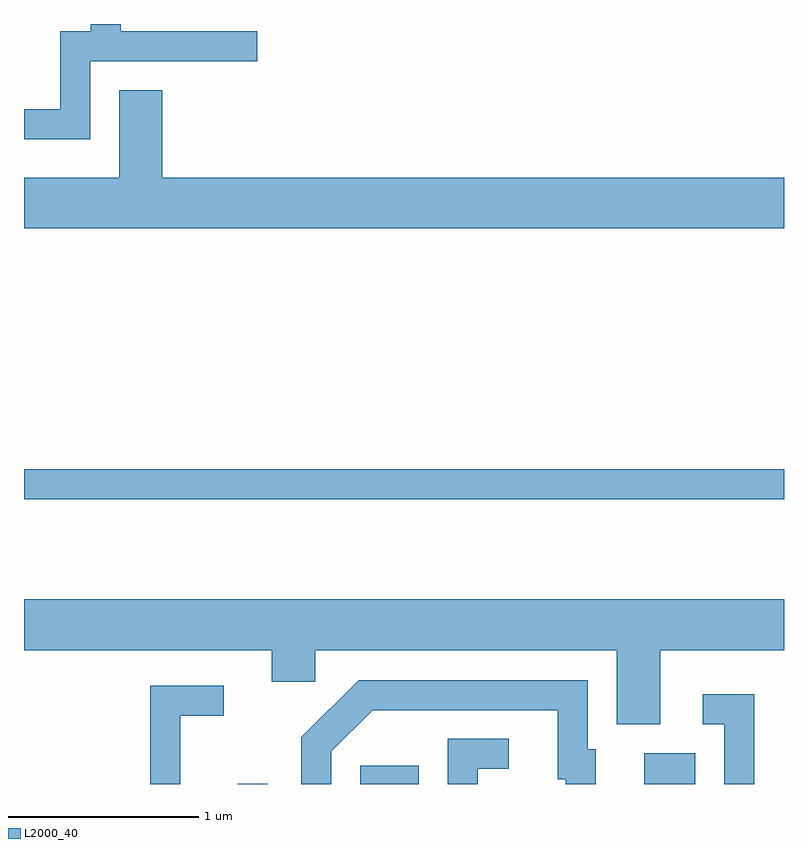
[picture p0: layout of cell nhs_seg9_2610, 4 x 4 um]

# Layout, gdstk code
import gdstk
lib = gdstk.Library(unit=1e-6, precision=1e-09)
def R(c, l, rs):  # rectangles x0, y0, x1, y1
    for r in rs: c.add(gdstk.rectangle(r[:2], r[2:], *l))
def P(c, l, *ps):  # polygons
    for p in ps: c.add(gdstk.Polygon(p, *l))
L2000_40 = (2000, 40)

nhs_seg9_2610 = lib.new_cell('nhs_seg9_2610')
R(nhs_seg9_2610, L2000_40, [(262.736,2004.432,262.894,2004.433), (263.381,2004.432,263.689,2004.529), (264.876,2004.432,265.144,2004.594), (261.611,2005.931,265.611,2006.089)])
P(nhs_seg9_2610, L2000_40, [(261.959,2008.236),(262.838,2008.236),(262.838,2008.394),(262.119,2008.394),(262.119,2008.432),(261.961,2008.432),(261.961,2008.394),(261.801,2008.394),(261.801,2007.984),(261.611,2007.984),(261.611,2007.826),(261.959,2007.826)],
  [(265.611,2007.624),(262.339,2007.624),(262.339,2008.084),(262.111,2008.084),(262.111,2007.624),(261.611,2007.624),(261.611,2007.356),(265.611,2007.356)],
  [(264.959,2005.136),(265.611,2005.136),(265.611,2005.404),(261.611,2005.404),(261.611,2005.136),(262.916,2005.136),(262.916,2004.971),(263.144,2004.971),(263.144,2005.136),(264.731,2005.136),(264.731,2004.746),(264.959,2004.746)],
  [(263.229,2004.604),(263.447,2004.821),(264.421,2004.821),(264.421,2004.456),(264.461,2004.456),(264.461,2004.432),(264.619,2004.432),(264.619,2004.614),(264.579,2004.614),(264.579,2004.979),(263.374,2004.979),(263.071,2004.677),(263.071,2004.432),(263.229,2004.432)],
  [(262.434,2004.791),(262.663,2004.791),(262.663,2004.949),(262.276,2004.949),(262.276,2004.432),(262.434,2004.432)],
  [(265.454,2004.904),(265.183,2004.904),(265.183,2004.746),(265.296,2004.746),(265.296,2004.432),(265.454,2004.432)],
  [(263.999,2004.511),(264.163,2004.511),(264.163,2004.669),(263.841,2004.669),(263.841,2004.432),(263.999,2004.432)])

lib.write_gds('nhs_seg9_2610.gds')
